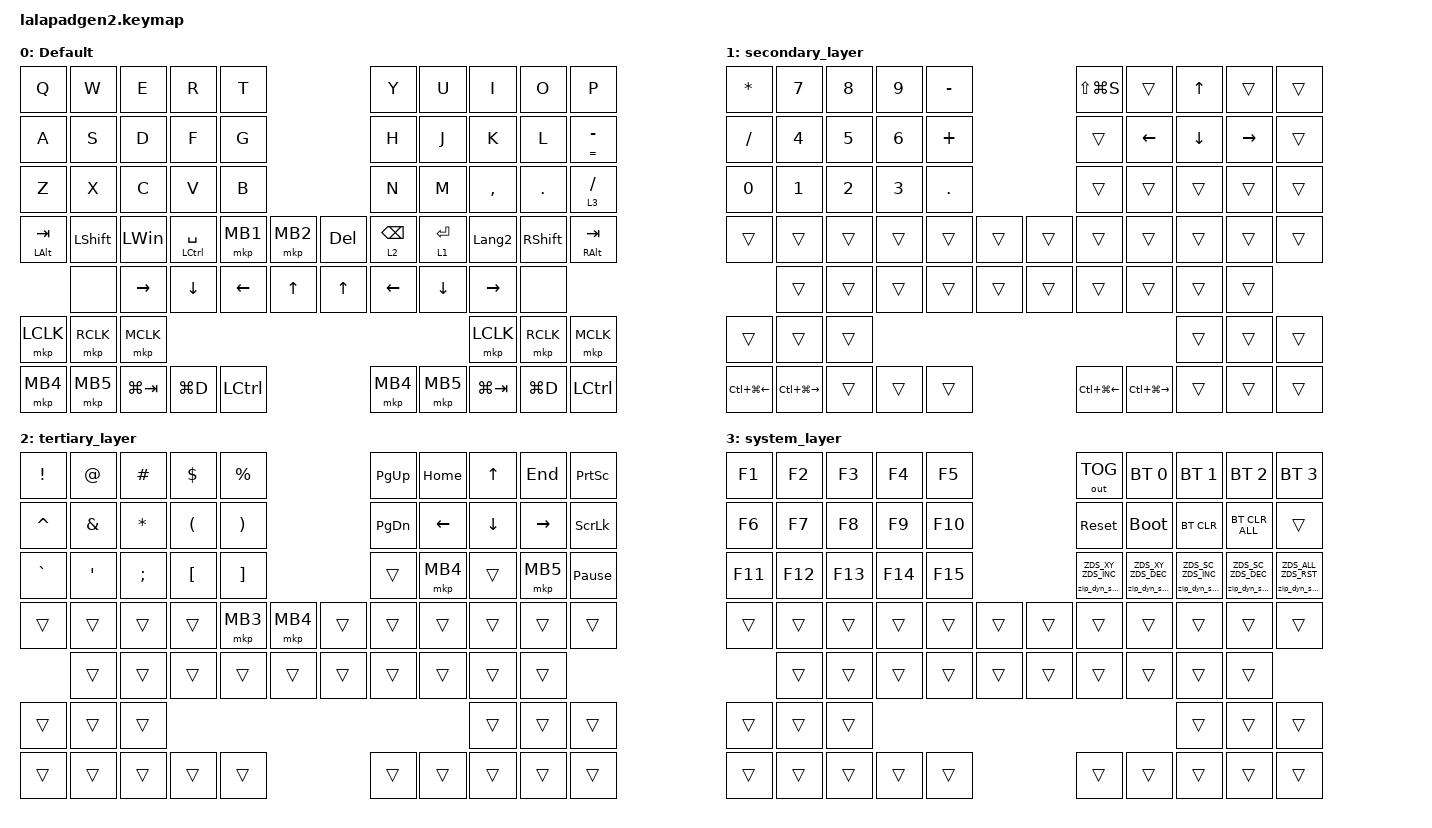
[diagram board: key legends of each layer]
#include <input/processors.dtsi>
#include <dt-bindings/zmk/zip_dynamic_scale.h>
#include <behaviors.dtsi>
#include <dt-bindings/zmk/bt.h>
#include <dt-bindings/zmk/keys.h>
#include <dt-bindings/zmk/outputs.h>
#include <dt-bindings/zmk/pointing.h>

#define DEFAULT_LAYER   0
#define SECONDARY_LAYER 1
#define TERTIARY_LAYER  2
#define SYSTEM_LAYER    3

&mt { quick-tap-ms = <200>; };

&lt { quick-tap-ms = <200>; };

/ {
    behaviors {
        zip_dyn_scale: zip_dyn_scale {
            compatible = "zmk,behavior-zip-dynamic-scale";
            #binding-cells = <2>;
        };

        zip_dyn_scale_set: zip_dyn_scale_set {
            compatible = "zmk,behavior-zip-dynamic-scale-set";
            #binding-cells = <2>;
        };

        mt2: mod_tap2 {
            compatible = "zmk,behavior-hold-tap";
            #binding-cells = <2>;
            flavor = "tap-preferred";
            tapping-term-ms = <200>;
            quick-tap-ms = <200>;
            require-prior-idle-ms = <125>;
            bindings = <&kp>, <&kp>;
        };

        tap_dance_layer_1and2: tap_dance_layer_1and2 {
            compatible = "zmk,behavior-tap-dance";
            label = "td_mo12";
            #binding-cells = <0>;
            bindings = <&mo 1>, <&mo 2>;
        };
    };

    combos {
        compatible = "zmk,combos";

        CONBO_ESC {
            bindings = <&kp ESCAPE>;
            key-positions = <30 31>;
        };

        COMBO_L1 {
            bindings = <&kp LANGUAGE_1>;
            key-positions = <13 12>;
        };

        COMBO_L2 {
            bindings = <&kp LANGUAGE_2>;
            key-positions = <16 17>;
        };
    };

    keymap {
        compatible = "zmk,keymap";

        DEFAULT_LAYER {
            display-name = "Default";
            bindings = <
&kp Q             &kp W           &kp E         &kp R                   &kp T                            &kp Y            &kp U        &kp I           &kp O            &kp P
&kp A             &kp S           &kp D         &kp F                   &kp G                            &kp H            &kp J        &kp K           &kp L            &mt2 EQUAL MINUS
&kp Z             &kp X           &kp C         &kp V                   &kp B                            &kp N            &kp M        &kp COMMA       &kp PERIOD       &lt 3 SLASH
&mt LEFT_ALT TAB  &kp LEFT_SHIFT  &kp LEFT_WIN  &mt LEFT_CONTROL SPACE  &mkp MB1   &mkp MB2  &kp DELETE  &lt 2 BACKSPACE  &lt 1 ENTER  &kp LANGUAGE_2  &kp RIGHT_SHIFT  &mt RIGHT_ALT TAB
                  &none           &kp RIGHT     &kp DOWN                &kp LEFT   &kp UP    &kp UP      &kp LEFT         &kp DOWN     &kp RIGHT       &none
&mkp LCLK         &mkp RCLK       &mkp MCLK                                                                                            &mkp LCLK       &mkp RCLK        &mkp MCLK
&mkp MB4          &mkp MB5        &kp LG(TAB)   &kp LG(D)               &kp LCTRL                        &mkp MB4         &mkp MB5     &kp LG(TAB)     &kp LG(D)        &kp LCTRL
            >;
        };

        SECONDARY_LAYER {
            display-name = "secondary_layer";
            bindings = <
&kp ASTERISK      &kp NUMBER_7       &kp NUMBER_8  &kp NUMBER_9  &kp MINUS                   &kp LS(LG(S))     &trans             &kp UP_ARROW    &trans           &trans
&kp SLASH         &kp NUMBER_4       &kp NUMBER_5  &kp NUMBER_6  &kp PLUS                    &trans            &kp LEFT_ARROW     &kp DOWN_ARROW  &kp RIGHT_ARROW  &trans
&kp NUMBER_0      &kp NUMBER_1       &kp NUMBER_2  &kp NUMBER_3  &kp PERIOD                  &trans            &trans             &trans          &trans           &trans
&trans            &trans             &trans        &trans        &trans      &trans  &trans  &trans            &trans             &trans          &trans           &trans
                  &trans             &trans        &trans        &trans      &trans  &trans  &trans            &trans             &trans          &trans
&trans            &trans             &trans                                                                                       &trans          &trans           &trans
&kp LC(LG(LEFT))  &kp LC(LG(RIGHT))  &trans        &trans        &trans                      &kp LC(LG(LEFT))  &kp LC(LG(RIGHT))  &trans          &trans           &trans
            >;
        };

        TERTIARY_LAYER {
            display-name = "tertiary_layer";
            bindings = <
&kp EXCLAMATION  &kp AT_SIGN    &kp HASH      &kp DOLLAR            &kp PERCENT                              &kp PAGE_UP    &kp HOME  &kp UP_ARROW    &kp END    &kp PRINTSCREEN
&kp CARET        &kp AMPERSAND  &kp ASTERISK  &kp LEFT_PARENTHESIS  &kp RIGHT_PARENTHESIS                    &kp PAGE_DOWN  &kp LEFT  &kp DOWN_ARROW  &kp RIGHT  &kp SCROLLLOCK
&kp GRAVE        &kp SQT        &kp SEMI      &kp LEFT_BRACKET      &kp RIGHT_BRACKET                        &trans         &mkp MB4  &trans          &mkp MB5   &kp PAUSE_BREAK
&trans           &trans         &trans        &trans                &mkp MB3               &mkp MB4  &trans  &trans         &trans    &trans          &trans     &trans
                 &trans         &trans        &trans                &trans                 &trans    &trans  &trans         &trans    &trans          &trans
&trans           &trans         &trans                                                                                                &trans          &trans     &trans
&trans           &trans         &trans        &trans                &trans                                   &trans         &trans    &trans          &trans     &trans
            >;
        };

        SYSTEM_LAYER {
            display-name = "system_layer";
            bindings = <
&kp F1   &kp F2   &kp F3   &kp F4   &kp F5                   &out OUT_TOG                   &bt BT_SEL 0                   &bt BT_SEL 1                   &bt BT_SEL 2                   &bt BT_SEL 3
&kp F6   &kp F7   &kp F8   &kp F9   &kp F10                  &sys_reset                     &bootloader                    &bt BT_CLR                     &bt BT_CLR_ALL                 &trans
&kp F11  &kp F12  &kp F13  &kp F14  &kp F15                  &zip_dyn_scale ZDS_XY ZDS_INC  &zip_dyn_scale ZDS_XY ZDS_DEC  &zip_dyn_scale ZDS_SC ZDS_INC  &zip_dyn_scale ZDS_SC ZDS_DEC  &zip_dyn_scale ZDS_ALL ZDS_RST
&trans   &trans   &trans   &trans   &trans   &trans  &trans  &trans                         &trans                         &trans                         &trans                         &trans
         &trans   &trans   &trans   &trans   &trans  &trans  &trans                         &trans                         &trans                         &trans
&trans   &trans   &trans                                                                                                   &trans                         &trans                         &trans
&trans   &trans   &trans   &trans   &trans                   &trans                         &trans                         &trans                         &trans                         &trans
            >;
        };
    };

    conditional_layers {
        compatible = "zmk,conditional-layers";

        Cond_Syslayer {
            if-layers = <1 2>;
            then-layer = <3>;
        };
    };
};
